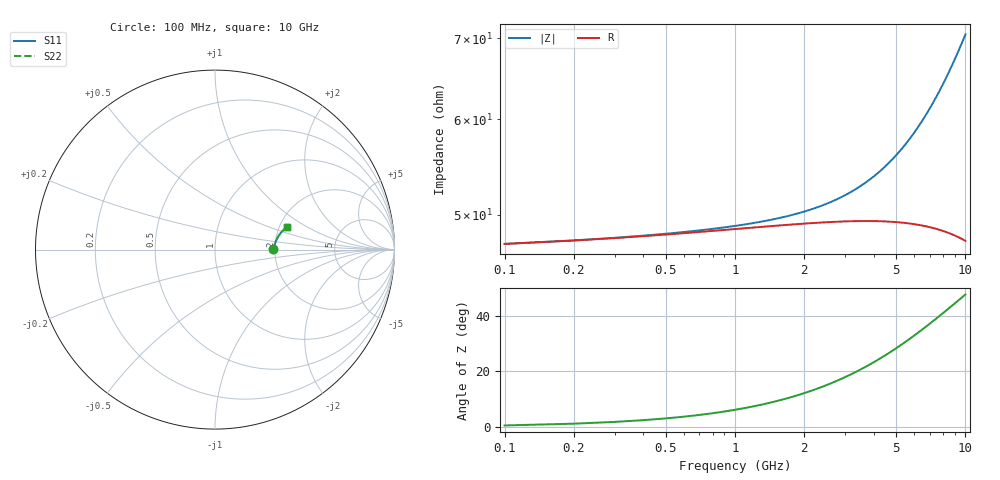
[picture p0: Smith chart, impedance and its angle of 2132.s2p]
# Hz S RI R 50.00
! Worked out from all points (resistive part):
!   100 points, 100 MHz to 10 GHz, reference 50 ohm
!   read as one part in series: R = 47.3 ohm at 100 MHz
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1e8  0.3211 0.00161  0.6789 -0.00315  0.6789 -0.00315  0.3211 0.00161
2e8  0.3226 0.0032  0.6774 -0.00628  0.6774 -0.00628  0.3226 0.0032
3e8  0.3236 0.00477  0.6764 -0.00939  0.6764 -0.00939  0.3236 0.00477
4e8  0.3245 0.00634  0.6755 -0.0125  0.6755 -0.0125  0.3245 0.00634
6e8  0.3259 0.00945  0.674 -0.0187  0.674 -0.0187  0.3259 0.00945
1.1e9  0.3288 0.0171  0.6711 -0.0341  0.6711 -0.0341  0.3288 0.0171
1.8e9  0.3322 0.0277  0.6673 -0.0554  0.6673 -0.0554  0.3322 0.0277
2.6e9  0.3363 0.0394  0.6627 -0.0795  0.6627 -0.0795  0.3363 0.0394
3e9  0.3386 0.0452  0.6601 -0.0914  0.6601 -0.0914  0.3386 0.0452
3.4e9  0.3409 0.0509  0.6574 -0.1033  0.6574 -0.1033  0.3409 0.0509
3.8e9  0.3435 0.0565  0.6545 -0.1151  0.6545 -0.1151  0.3435 0.0565
4.2e9  0.3462 0.0619  0.6513 -0.1267  0.6513 -0.1267  0.3462 0.0619
4.7e9  0.3498 0.0686  0.6471 -0.1411  0.6471 -0.1411  0.3498 0.0686
5.1e9  0.3529 0.0739  0.6434 -0.1525  0.6434 -0.1525  0.3529 0.0739
5.5e9  0.3561 0.079  0.6396 -0.1638  0.6396 -0.1638  0.3561 0.079
5.9e9  0.3595 0.0839  0.6355 -0.175  0.6355 -0.175  0.3595 0.0839
6.7e9  0.3669 0.0934  0.6268 -0.1969  0.6268 -0.1969  0.3669 0.0934
7.5e9  0.3748 0.1023  0.6172 -0.2182  0.6172 -0.2182  0.3748 0.1023
7.9e9  0.379 0.1065  0.6121 -0.2286  0.6121 -0.2286  0.379 0.1065
8.4e9  0.3845 0.1115  0.6055 -0.2414  0.6055 -0.2414  0.3845 0.1115
9.2e9  0.3936 0.1189  0.5943 -0.2613  0.5943 -0.2613  0.3936 0.1189
1e10  0.4033 0.1256  0.5825 -0.2805  0.5825 -0.2805  0.4033 0.1256
